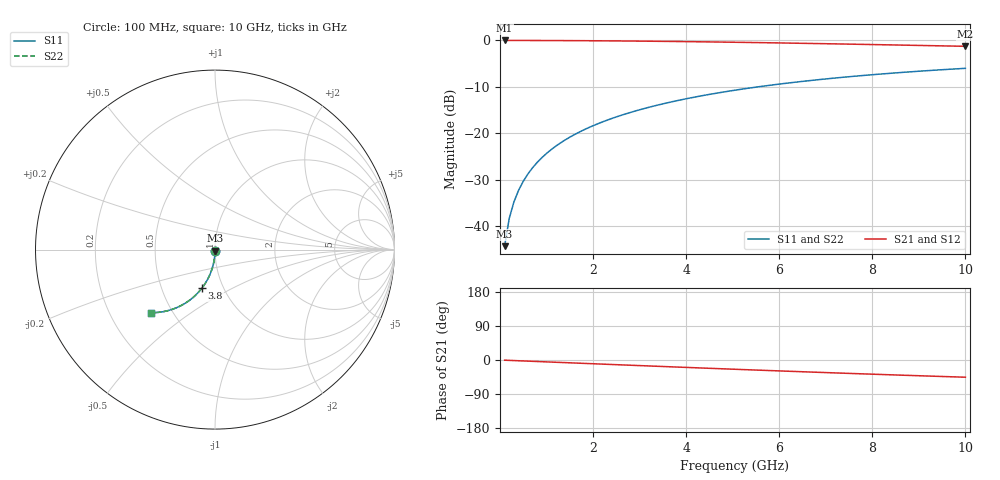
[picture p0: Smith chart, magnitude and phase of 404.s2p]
# Hz S RI R 50.00
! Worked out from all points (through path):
!   100 points, 100 MHz to 10 GHz, reference 50 ohm
!   highest |S21| = 0.00 dB at 100 MHz (marker M1); lowest = -1.3 dB at 10 GHz (marker M2)
!   group delay of S21, straight-line fit = 12.7 ps
!   lowest |S11| = -44.3 dB at 100 MHz (marker M3), VSWR 1.01, Z = 50 - j0.608 ohm
!   |S11| at or under -10 dB: start of sweep to 5.543 GHz
!   |S22| runs from -44.3 to -6.0 dB; largest |S21 - S12| = 0
!   S11 on the Smith chart (normalised r, x): 100 MHz: 1.00, -0.01; 3.8 GHz: 0.80, -0.36; 10 GHz: 0.38, -0.36
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1e8  0.000311 -0.00608  0.9996 -0.00864  0.9996 -0.00864  0.000311 -0.00608
2e8  0.000149 -0.0122  0.9994 -0.0173  0.9994 -0.0173  0.000149 -0.0122
3e8  -0.000119 -0.0182  0.9991 -0.0259  0.9991 -0.0259  -0.000119 -0.0182
4e8  -0.000492 -0.0243  0.9987 -0.0345  0.9987 -0.0345  -0.000492 -0.0243
5e8  -0.00097 -0.0304  0.9982 -0.0432  0.9982 -0.0432  -0.00097 -0.0304
6e8  -0.00155 -0.0364  0.9976 -0.0518  0.9976 -0.0518  -0.00155 -0.0364
8e8  -0.00303 -0.0485  0.996 -0.0689  0.996 -0.0689  -0.00303 -0.0485
9e8  -0.00392 -0.0545  0.995 -0.0775  0.995 -0.0775  -0.00392 -0.0545
1.1e9  -0.00602 -0.0664  0.9928 -0.0946  0.9928 -0.0946  -0.00602 -0.0664
1.4e9  -0.00993 -0.0842  0.9886 -0.1201  0.9886 -0.1201  -0.00993 -0.0842
1.8e9  -0.0165 -0.1074  0.9816 -0.1536  0.9816 -0.1536  -0.0165 -0.1074
2.1e9  -0.0225 -0.1245  0.9752 -0.1784  0.9752 -0.1784  -0.0225 -0.1245
2.5e9  -0.0318 -0.1467  0.9653 -0.2108  0.9653 -0.2108  -0.0318 -0.1467
2.9e9  -0.0425 -0.168  0.9539 -0.2425  0.9539 -0.2425  -0.0425 -0.168
3.4e9  -0.0578 -0.1934  0.9376 -0.2809  0.9376 -0.2809  -0.0578 -0.1934
3.8e9  -0.0714 -0.2126  0.923 -0.3105  0.923 -0.3105  -0.0714 -0.2126
4.4e9  -0.0938 -0.2393  0.8989 -0.3528  0.8989 -0.3528  -0.0938 -0.2393
5.1e9  -0.1226 -0.267  0.8678 -0.3989  0.8678 -0.3989  -0.1226 -0.267
5.9e9  -0.1584 -0.2938  0.829 -0.4469  0.829 -0.4469  -0.1584 -0.2938
6.7e9  -0.1962 -0.3154  0.7876 -0.4898  0.7876 -0.4898  -0.1962 -0.3154
8.4e9  -0.2796 -0.3441  0.6949 -0.5645  0.6949 -0.5645  -0.2796 -0.3441
1e10  -0.3569 -0.3513  0.6065 -0.616  0.6065 -0.616  -0.3569 -0.3513
